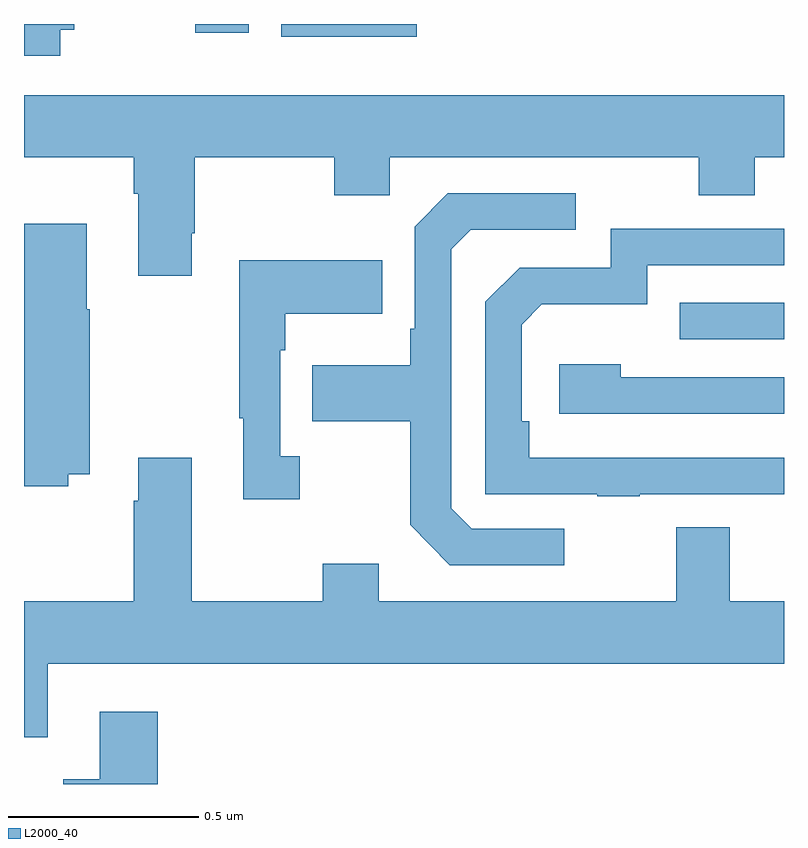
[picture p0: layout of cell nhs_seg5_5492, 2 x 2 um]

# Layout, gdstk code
import gdstk
lib = gdstk.Library(unit=1e-6, precision=1e-09)
def R(c, l, rs):  # rectangles x0, y0, x1, y1
    for r in rs: c.add(gdstk.rectangle(r[:2], r[2:], *l))
def P(c, l, *ps):  # polygons
    for p in ps: c.add(gdstk.Polygon(p, *l))
L2000_40 = (2000, 40)

nhs_seg5_5492 = lib.new_cell('nhs_seg5_5492')
R(nhs_seg5_5492, L2000_40, [(185.725,834.969,186,835.065), (184.677,835.766,185.033,835.799), (184.451,835.776,184.591,835.799)])
P(nhs_seg5_5492, L2000_40, [(184.095,835.784),(184.132,835.784),(184.132,835.799),(184,835.799),(184,835.716),(184.095,835.716)],
  [(184.441,835.249),(184.449,835.249),(184.449,835.448),(184.816,835.448),(184.816,835.349),(184.962,835.349),(184.962,835.448),(185.776,835.448),(185.776,835.349),(185.923,835.349),(185.923,835.448),(186,835.448),(186,835.612),(184,835.612),(184,835.448),(184.289,835.448),(184.289,835.352),(184.301,835.352),(184.301,835.137),(184.441,835.137)],
  [(185.422,834.471),(185.178,834.471),(185.124,834.525),(185.124,835.206),(185.175,835.257),(185.452,835.257),(185.452,835.353),(185.115,835.353),(185.028,835.266),(185.028,834.997),(185.016,834.997),(185.016,834.901),(184.759,834.901),(184.759,834.754),(185.016,834.754),(185.016,834.481),(185.121,834.375),(185.422,834.375)],
  [(184.116,834.614),(184.173,834.614),(184.173,835.049),(184.165,835.049),(184.165,835.273),(184,835.273),(184,834.582),(184.116,834.582)],
  [(185.621,834.561),(186,834.561),(186,834.657),(185.33,834.657),(185.33,834.754),(185.31,834.754),(185.31,835.008),(185.363,835.061),(185.64,835.061),(185.64,835.164),(186,835.164),(186,835.26),(185.544,835.26),(185.544,835.158),(185.304,835.158),(185.214,835.068),(185.214,834.561),(185.509,834.561),(185.509,834.556),(185.621,834.556)],
  [(184.726,834.662),(184.674,834.662),(184.674,834.941),(184.687,834.941),(184.687,835.037),(184.943,835.037),(184.943,835.177),(184.566,835.177),(184.566,834.761),(184.577,834.761),(184.577,834.549),(184.726,834.549)],
  [(186,834.87),(185.57,834.87),(185.57,834.904),(185.409,834.904),(185.409,834.774),(186,834.774)],
  [(184.063,834.116),(186,834.116),(186,834.28),(185.857,834.28),(185.857,834.475),(185.717,834.475),(185.717,834.28),(184.933,834.28),(184.933,834.379),(184.786,834.379),(184.786,834.28),(184.441,834.28),(184.441,834.658),(184.301,834.658),(184.301,834.545),(184.289,834.545),(184.289,834.28),(184,834.28),(184,833.922),(184.063,833.922)],
  [(184.352,833.989),(184.199,833.989),(184.199,833.812),(184.103,833.812),(184.103,833.799),(184.352,833.799)])

lib.write_gds('nhs_seg5_5492.gds')
